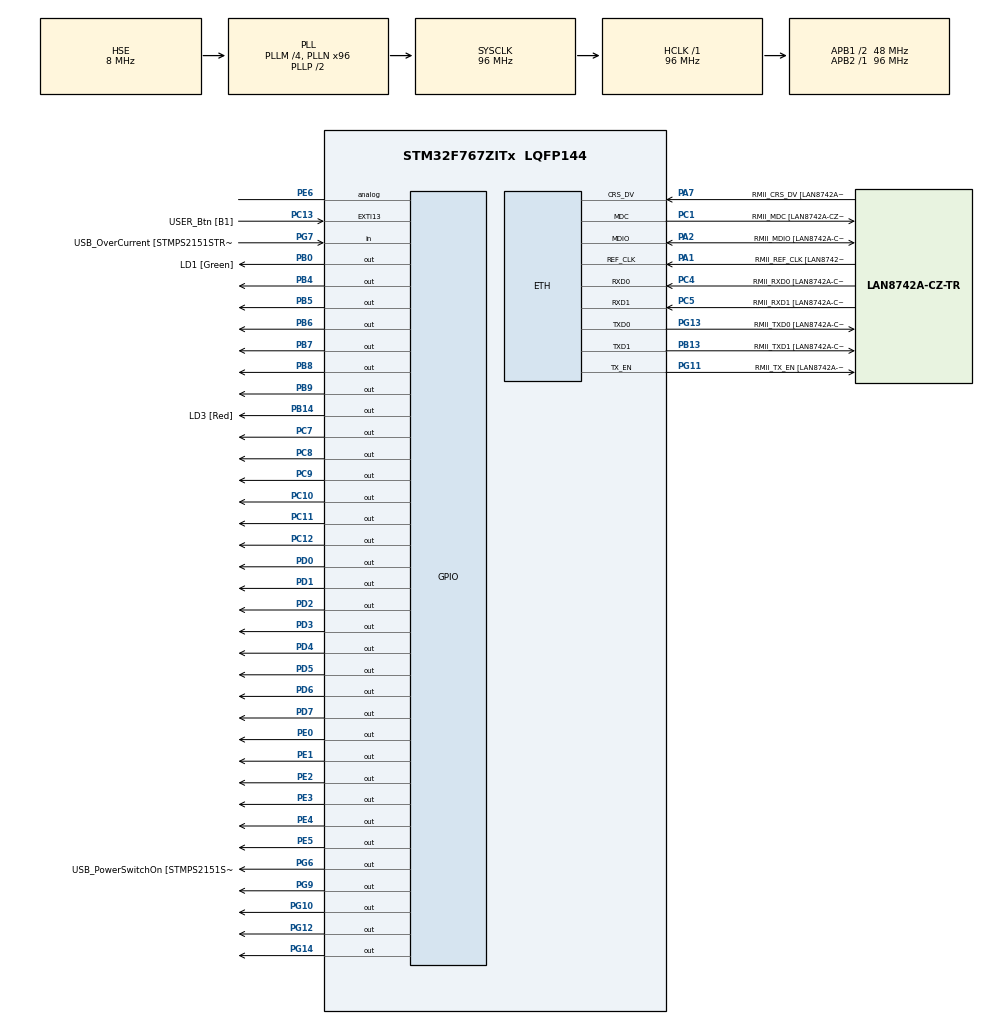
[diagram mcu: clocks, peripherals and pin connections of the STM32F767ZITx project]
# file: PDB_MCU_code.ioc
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ETH.MediaInterface=ETH_MEDIA_INTERFACE_RMII
ETH.PHY_Name=LAN8742A_PHY_ADDRESS
ETH.PHY_Value=0
ETH.PhyAddress=0
LWIP.IP_ADDRESS=001.001.001.111
LWIP.LWIP_DHCP=0
LWIP.NETMASK_ADDRESS=255.255.255.000
LWIP.Version=v2.1.2_Cube
Mcu.Family=STM32F7
Mcu.Name=STM32F767ZITx
Mcu.Package=LQFP144
NVIC.PriorityGroup=NVIC_PRIORITYGROUP_4
PA1.GPIO_Label=RMII_REF_CLK [LAN8742A-CZ-TR_REFCLK0]
PA1.Mode=RMII
PA1.Signal=ETH_REF_CLK
PA10.GPIO_Label=USB_ID
PA10.Signal=USB_OTG_FS_ID
PA11.GPIO_Label=USB_DM
PA11.Signal=USB_OTG_FS_DM
PA12.GPIO_Label=USB_DP
PA12.Signal=USB_OTG_FS_DP
PA13.GPIO_Label=TMS
PA13.Mode=Serial_Wire
PA13.Signal=SYS_JTMS-SWDIO
PA14.GPIO_Label=TCK
PA14.Mode=Serial_Wire
PA14.Signal=SYS_JTCK-SWCLK
PA2.GPIO_Label=RMII_MDIO [LAN8742A-CZ-TR_MDIO]
PA2.Mode=RMII
PA2.Signal=ETH_MDIO
PA7.GPIO_Label=RMII_CRS_DV [LAN8742A-CZ-TR_CRS_DV]
PA7.Mode=RMII
PA7.Signal=ETH_CRS_DV
PA8.GPIO_Label=USB_SOF [TP1]
PA8.Signal=USB_OTG_FS_SOF
PA9.GPIO_Label=USB_VBUS
PA9.Signal=USB_OTG_FS_VBUS
PB0.GPIO_Label=LD1 [Green]
PB0.Signal=GPIO_Output
PB13.GPIO_Label=RMII_TXD1 [LAN8742A-CZ-TR_TXD1]
PB13.Mode=RMII
PB13.Signal=ETH_TXD1
PB14.GPIO_Label=LD3 [Red]
PB14.Signal=GPIO_Output
PB3.GPIO_Label=SWO
PB3.Signal=SYS_JTDO-SWO
PB4.Signal=GPIO_Output
PB5.Signal=GPIO_Output
PB6.Signal=GPIO_Output
PB7.Signal=GPIO_Output
PB8.Signal=GPIO_Output
PB9.Signal=GPIO_Output
PC1.GPIO_Label=RMII_MDC [LAN8742A-CZ-TR_MDC]
PC1.Mode=RMII
PC1.Signal=ETH_MDC
PC10.Signal=GPIO_Output
PC11.Signal=GPIO_Output
PC12.Signal=GPIO_Output
PC13.GPIO_Label=USER_Btn [B1]
PC13.Signal=GPXTI13
PC14/OSC32_IN.Mode=LSE-External-Oscillator
PC14/OSC32_IN.Signal=RCC_OSC32_IN
PC15/OSC32_OUT.Mode=LSE-External-Oscillator
PC15/OSC32_OUT.Signal=RCC_OSC32_OUT
PC4.GPIO_Label=RMII_RXD0 [LAN8742A-CZ-TR_RXD0]
PC4.Mode=RMII
PC4.Signal=ETH_RXD0
PC5.GPIO_Label=RMII_RXD1 [LAN8742A-CZ-TR_RXD1]
PC5.Mode=RMII
PC5.Signal=ETH_RXD1
PC7.Signal=GPIO_Output
PC8.Signal=GPIO_Output
PC9.Signal=GPIO_Output
PD0.Signal=GPIO_Output
PD1.Signal=GPIO_Output
PD2.Signal=GPIO_Output
PD3.Signal=GPIO_Output
PD4.Signal=GPIO_Output
PD5.Signal=GPIO_Output
PD6.Signal=GPIO_Output
PD7.Signal=GPIO_Output
PD8.GPIO_Label=STLK_RX [STM32F103CBT6_PA3]
PD8.Signal=USART3_TX
PD9.GPIO_Label=STLK_TX [STM32F103CBT6_PA2]
PD9.Signal=USART3_RX
PE0.Signal=GPIO_Output
PE1.Signal=GPIO_Output
PE2.Signal=GPIO_Output
PE3.Signal=GPIO_Output
PE4.Signal=GPIO_Output
PE5.Signal=GPIO_Output
PE6.Signal=GPIO_Analog
PG10.Signal=GPIO_Output
PG11.GPIO_Label=RMII_TX_EN [LAN8742A-CZ-TR_TXEN]
PG11.Mode=RMII
PG11.Signal=ETH_TX_EN
PG12.Signal=GPIO_Output
PG13.GPIO_Label=RMII_TXD0 [LAN8742A-CZ-TR_TXD0]
PG13.Mode=RMII
PG13.Signal=ETH_TXD0
PG14.Signal=GPIO_Output
PG6.GPIO_Label=USB_PowerSwitchOn [STMPS2151STR_EN]
PG6.Signal=GPIO_Output
PG7.GPIO_Label=USB_OverCurrent [STMPS2151STR_FAULT]
PG7.Signal=GPIO_Input
PG9.Signal=GPIO_Output
PH0/OSC_IN.GPIO_Label=MCO [STM32F103CBT6_PA8]
PH0/OSC_IN.Mode=HSE-External-Clock-Source
PH0/OSC_IN.Signal=RCC_OSC_IN
PH1/OSC_OUT.Mode=HSE-External-Clock-Source
PH1/OSC_OUT.Signal=RCC_OSC_OUT
ProjectManager.HeapSize=0x200
ProjectManager.StackSize=0x400
ProjectManager.TargetToolchain=STM32CubeIDE
RCC.48MHZClocksFreq_Value=24000000
RCC.AHBFreq_Value=96000000
RCC.APB1CLKDivider=RCC_HCLK_DIV2
RCC.APB1Freq_Value=48000000
RCC.APB1TimFreq_Value=96000000
RCC.APB2Freq_Value=96000000
RCC.APB2TimFreq_Value=96000000
RCC.CortexFreq_Value=96000000
RCC.HCLKFreq_Value=96000000
RCC.HSE_VALUE=8000000
RCC.HSI_VALUE=16000000
RCC.PLLM=4
RCC.PLLMUL=RCC_PLL_MUL9
RCC.PLLN=96
RCC.PLLQ=4
RCC.PLLSourceVirtual=RCC_PLLSOURCE_HSE
RCC.PRESCALERUSB=RCC_USBCLKSOURCE_PLL_DIV1_5
RCC.SYSCLKFreq_VALUE=96000000
RCC.SYSCLKSource=RCC_SYSCLKSOURCE_PLLCLK
RCC.SYSCLKSourceVirtual=RCC_SYSCLKSOURCE_PLLCLK
RCC.USBFreq_Value=48000000
RCC.VCOOutputFreq_Value=192000000
VP_LWIP_VS_Enabled.Mode=Enabled
board=NUCLEO-F767ZI

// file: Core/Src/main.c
/* USER CODE BEGIN Header */
/**
  ******************************************************************************
  * @file           : main.c
  * @brief          : Main program body
  ******************************************************************************
  * @attention
  *
  * Copyright (c) 2024 STMicroelectronics.
  * All rights reserved.
  *
  * This software is licensed under terms that can be found in the LICENSE file
  * in the root directory of this software component.
  * If no LICENSE file comes with this software, it is provided AS-IS.
  *
  ******************************************************************************
  */
/* USER CODE END Header */
#include "main.h"
#include "lwip.h"
#include "lwip/udp.h"
#include "lwip/init.h"
#include "udp_file.h"

/* USER CODE BEGIN PD */
#define true '1'
/* USER CODE END PD */

/* USER CODE BEGIN PV */
extern uint8_t  buffer[34];
rx_struct data_rx;
/* USER CODE END PV */

void SystemClock_Config(void);
static void MX_GPIO_Init(void);
void gpio_reset(void);
void gpio_set(void);

int main(void)
{

  /* MCU Configuration--------------------------------------------------------*/

  /* Reset of all peripherals, Initializes the Flash interface and the Systick. */
  HAL_Init();

  /* Configure the system clock */
  SystemClock_Config();

  /* Initialize all configured peripherals */
  MX_GPIO_Init();
  MX_LWIP_Init();
  /* USER CODE BEGIN 2 */
  udp_echoclient_connect();
  gpio_reset();
  /* USER CODE END 2 */

  /* Infinite loop */
  /* USER CODE BEGIN WHILE */
  while (1)
  {
	  int i = 0;
    /* USER CODE END WHILE */

    /* USER CODE BEGIN 3 */
	  HAL_GPIO_WritePin(GPIOB, GPIO_PIN_14, GPIO_PIN_RESET);
	  MX_LWIP_Process();
	  udp_echoclient_send();

	  for(int i=1;i<33;i++){
	  		data_rx.rx_buffer[i]=buffer[i];
	  	}
	  gpio_set();
  }
  /* USER CODE END 3 */
}

void SystemClock_Config(void)
{
  RCC_OscInitTypeDef RCC_OscInitStruct = {0};
  RCC_ClkInitTypeDef RCC_ClkInitStruct = {0};

  /** Configure LSE Drive Capability
  */
  HAL_PWR_EnableBkUpAccess();

  /** Configure the main internal regulator output voltage
  */
  __HAL_RCC_PWR_CLK_ENABLE();
  __HAL_PWR_VOLTAGESCALING_CONFIG(PWR_REGULATOR_VOLTAGE_SCALE3);

  /** Initializes the RCC Oscillators according to the specified parameters
  * in the RCC_OscInitTypeDef structure.
  */
  RCC_OscInitStruct.OscillatorType = RCC_OSCILLATORTYPE_HSE;
  RCC_OscInitStruct.HSEState = RCC_HSE_BYPASS;
  RCC_OscInitStruct.PLL.PLLState = RCC_PLL_ON;
  RCC_OscInitStruct.PLL.PLLSource = RCC_PLLSOURCE_HSE;
  RCC_OscInitStruct.PLL.PLLM = 4;
  RCC_OscInitStruct.PLL.PLLN = 96;
  RCC_OscInitStruct.PLL.PLLP = RCC_PLLP_DIV2;
  RCC_OscInitStruct.PLL.PLLQ = 4;
  RCC_OscInitStruct.PLL.PLLR = 2;
  if (HAL_RCC_OscConfig(&RCC_OscInitStruct) != HAL_OK)
  {
    Error_Handler();
  }

  /** Activate the Over-Drive mode
  */
  if (HAL_PWREx_EnableOverDrive() != HAL_OK)
  {
    Error_Handler();
  }

  /** Initializes the CPU, AHB and APB buses clocks
  */
  RCC_ClkInitStruct.ClockType = RCC_CLOCKTYPE_HCLK|RCC_CLOCKTYPE_SYSCLK
                              |RCC_CLOCKTYPE_PCLK1|RCC_CLOCKTYPE_PCLK2;
  RCC_ClkInitStruct.SYSCLKSource = RCC_SYSCLKSOURCE_PLLCLK;
  RCC_ClkInitStruct.AHBCLKDivider = RCC_SYSCLK_DIV1;
  RCC_ClkInitStruct.APB1CLKDivider = RCC_HCLK_DIV2;
  RCC_ClkInitStruct.APB2CLKDivider = RCC_HCLK_DIV1;

  if (HAL_RCC_ClockConfig(&RCC_ClkInitStruct, FLASH_LATENCY_3) != HAL_OK)
  {
    Error_Handler();
  }
}

static void MX_GPIO_Init(void)
{
  GPIO_InitTypeDef GPIO_InitStruct = {0};

  /* GPIO Ports Clock Enable */
  __HAL_RCC_GPIOE_CLK_ENABLE();
  __HAL_RCC_GPIOC_CLK_ENABLE();
  __HAL_RCC_GPIOH_CLK_ENABLE();
  __HAL_RCC_GPIOA_CLK_ENABLE();
  __HAL_RCC_GPIOB_CLK_ENABLE();
  __HAL_RCC_GPIOD_CLK_ENABLE();
  __HAL_RCC_GPIOG_CLK_ENABLE();

  /*Configure GPIO pin Output Level */
  HAL_GPIO_WritePin(GPIOE, GPIO_PIN_2|GPIO_PIN_3|GPIO_PIN_4|GPIO_PIN_5
                          |GPIO_PIN_0|GPIO_PIN_1, GPIO_PIN_RESET);

  /*Configure GPIO pin Output Level */
  HAL_GPIO_WritePin(GPIOB, LD1_Pin|LD3_Pin|GPIO_PIN_4|GPIO_PIN_5
                          |GPIO_PIN_6|GPIO_PIN_7|GPIO_PIN_8|GPIO_PIN_9, GPIO_PIN_RESET);

  /*Configure GPIO pin Output Level */
  HAL_GPIO_WritePin(GPIOG, USB_PowerSwitchOn_Pin|GPIO_PIN_9|GPIO_PIN_10|GPIO_PIN_12
                          |GPIO_PIN_14, GPIO_PIN_RESET);

  /*Configure GPIO pin Output Level */
  HAL_GPIO_WritePin(GPIOC, GPIO_PIN_7|GPIO_PIN_8|GPIO_PIN_9|GPIO_PIN_10
                          |GPIO_PIN_11|GPIO_PIN_12, GPIO_PIN_RESET);

  /*Configure GPIO pin Output Level */
  HAL_GPIO_WritePin(GPIOD, GPIO_PIN_0|GPIO_PIN_1|GPIO_PIN_2|GPIO_PIN_3
                          |GPIO_PIN_4|GPIO_PIN_5|GPIO_PIN_6|GPIO_PIN_7, GPIO_PIN_RESET);

  /*Configure GPIO pins : PE2 PE3 PE4 PE5
                           PE0 PE1 */
  GPIO_InitStruct.Pin = GPIO_PIN_2|GPIO_PIN_3|GPIO_PIN_4|GPIO_PIN_5
                          |GPIO_PIN_0|GPIO_PIN_1;
  GPIO_InitStruct.Mode = GPIO_MODE_OUTPUT_PP;
  GPIO_InitStruct.Pull = GPIO_NOPULL;
  GPIO_InitStruct.Speed = GPIO_SPEED_FREQ_LOW;
  HAL_GPIO_Init(GPIOE, &GPIO_InitStruct);

  /*Configure GPIO pin : PE6 */
  GPIO_InitStruct.Pin = GPIO_PIN_6;
  GPIO_InitStruct.Mode = GPIO_MODE_ANALOG;
  GPIO_InitStruct.Pull = GPIO_NOPULL;
  HAL_GPIO_Init(GPIOE, &GPIO_InitStruct);

  /*Configure GPIO pin : USER_Btn_Pin */
  GPIO_InitStruct.Pin = USER_Btn_Pin;
  GPIO_InitStruct.Mode = GPIO_MODE_IT_RISING;
  GPIO_InitStruct.Pull = GPIO_NOPULL;
  HAL_GPIO_Init(USER_Btn_GPIO_Port, &GPIO_InitStruct);

  /*Configure GPIO pins : LD1_Pin LD3_Pin PB4 PB5
                           PB6 PB7 PB8 PB9 */
  GPIO_InitStruct.Pin = LD1_Pin|LD3_Pin|GPIO_PIN_4|GPIO_PIN_5
                          |GPIO_PIN_6|GPIO_PIN_7|GPIO_PIN_8|GPIO_PIN_9;
  GPIO_InitStruct.Mode = GPIO_MODE_OUTPUT_PP;
  GPIO_InitStruct.Pull = GPIO_NOPULL;
  GPIO_InitStruct.Speed = GPIO_SPEED_FREQ_LOW;
  HAL_GPIO_Init(GPIOB, &GPIO_InitStruct);

  /*Configure GPIO pins : STLK_RX_Pin STLK_TX_Pin */
  GPIO_InitStruct.Pin = STLK_RX_Pin|STLK_TX_Pin;
  GPIO_InitStruct.Mode = GPIO_MODE_AF_PP;
  GPIO_InitStruct.Pull = GPIO_NOPULL;
  GPIO_InitStruct.Speed = GPIO_SPEED_FREQ_VERY_HIGH;
  GPIO_InitStruct.Alternate = GPIO_AF7_USART3;
  HAL_GPIO_Init(GPIOD, &GPIO_InitStruct);

  /*Configure GPIO pins : USB_PowerSwitchOn_Pin PG9 PG10 PG12
                           PG14 */
  GPIO_InitStruct.Pin = USB_PowerSwitchOn_Pin|GPIO_PIN_9|GPIO_PIN_10|GPIO_PIN_12
                          |GPIO_PIN_14;
  GPIO_InitStruct.Mode = GPIO_MODE_OUTPUT_PP;
  GPIO_InitStruct.Pull = GPIO_NOPULL;
  GPIO_InitStruct.Speed = GPIO_SPEED_FREQ_LOW;
  HAL_GPIO_Init(GPIOG, &GPIO_InitStruct);

  /*Configure GPIO pin : USB_OverCurrent_Pin */
  GPIO_InitStruct.Pin = USB_OverCurrent_Pin;
  GPIO_InitStruct.Mode = GPIO_MODE_INPUT;
  GPIO_InitStruct.Pull = GPIO_NOPULL;
  HAL_GPIO_Init(USB_OverCurrent_GPIO_Port, &GPIO_InitStruct);

  /*Configure GPIO pins : PC7 PC8 PC9 PC10
                           PC11 PC12 */
  GPIO_InitStruct.Pin = GPIO_PIN_7|GPIO_PIN_8|GPIO_PIN_9|GPIO_PIN_10
                          |GPIO_PIN_11|GPIO_PIN_12;
  GPIO_InitStruct.Mode = GPIO_MODE_OUTPUT_PP;
  GPIO_InitStruct.Pull = GPIO_NOPULL;
  GPIO_InitStruct.Speed = GPIO_SPEED_FREQ_LOW;
  HAL_GPIO_Init(GPIOC, &GPIO_InitStruct);

  /*Configure GPIO pins : USB_SOF_Pin USB_ID_Pin USB_DM_Pin USB_DP_Pin */
  GPIO_InitStruct.Pin = USB_SOF_Pin|USB_ID_Pin|USB_DM_Pin|USB_DP_Pin;
  GPIO_InitStruct.Mode = GPIO_MODE_AF_PP;
  GPIO_InitStruct.Pull = GPIO_NOPULL;
  GPIO_InitStruct.Speed = GPIO_SPEED_FREQ_VERY_HIGH;
  GPIO_InitStruct.Alternate = GPIO_AF10_OTG_FS;
  HAL_GPIO_Init(GPIOA, &GPIO_InitStruct);

  /*Configure GPIO pin : USB_VBUS_Pin */
  GPIO_InitStruct.Pin = USB_VBUS_Pin;
  GPIO_InitStruct.Mode = GPIO_MODE_INPUT;
  GPIO_InitStruct.Pull = GPIO_NOPULL;
  HAL_GPIO_Init(USB_VBUS_GPIO_Port, &GPIO_InitStruct);

  /*Configure GPIO pins : PD0 PD1 PD2 PD3
                           PD4 PD5 PD6 PD7 */
  GPIO_InitStruct.Pin = GPIO_PIN_0|GPIO_PIN_1|GPIO_PIN_2|GPIO_PIN_3
                          |GPIO_PIN_4|GPIO_PIN_5|GPIO_PIN_6|GPIO_PIN_7;
  GPIO_InitStruct.Mode = GPIO_MODE_OUTPUT_PP;
  GPIO_InitStruct.Pull = GPIO_NOPULL;
  GPIO_InitStruct.Speed = GPIO_SPEED_FREQ_LOW;
  HAL_GPIO_Init(GPIOD, &GPIO_InitStruct);

}

/* USER CODE BEGIN 4 */
void gpio_reset(){

	HAL_GPIO_WritePin(GPIOE, GPIO_PIN_0, GPIO_PIN_RESET);
	HAL_GPIO_WritePin(GPIOE, GPIO_PIN_1, GPIO_PIN_RESET);
	HAL_GPIO_WritePin(GPIOE, GPIO_PIN_2, GPIO_PIN_RESET);
	HAL_GPIO_WritePin(GPIOE, GPIO_PIN_3, GPIO_PIN_RESET);
	HAL_GPIO_WritePin(GPIOE, GPIO_PIN_4, GPIO_PIN_RESET);
	HAL_GPIO_WritePin(GPIOE, GPIO_PIN_5, GPIO_PIN_RESET);
	HAL_GPIO_WritePin(GPIOE, GPIO_PIN_6, GPIO_PIN_RESET);
	HAL_GPIO_WritePin(GPIOB, GPIO_PIN_4, GPIO_PIN_RESET);
	HAL_GPIO_WritePin(GPIOB, GPIO_PIN_5, GPIO_PIN_RESET);
	HAL_GPIO_WritePin(GPIOB, GPIO_PIN_6, GPIO_PIN_RESET);
	HAL_GPIO_WritePin(GPIOB, GPIO_PIN_7, GPIO_PIN_RESET);
	HAL_GPIO_WritePin(GPIOB, GPIO_PIN_8, GPIO_PIN_RESET);
	HAL_GPIO_WritePin(GPIOB, GPIO_PIN_9, GPIO_PIN_RESET);
	HAL_GPIO_WritePin(GPIOG, GPIO_PIN_9, GPIO_PIN_RESET);
	HAL_GPIO_WritePin(GPIOG, GPIO_PIN_10, GPIO_PIN_RESET);
	HAL_GPIO_WritePin(GPIOG, GPIO_PIN_12, GPIO_PIN_RESET);
	HAL_GPIO_WritePin(GPIOG, GPIO_PIN_14, GPIO_PIN_RESET);
	HAL_GPIO_WritePin(GPIOG, GPIO_PIN_15, GPIO_PIN_RESET);
	HAL_GPIO_WritePin(GPIOD, GPIO_PIN_0, GPIO_PIN_RESET);
	HAL_GPIO_WritePin(GPIOD, GPIO_PIN_1, GPIO_PIN_RESET);
	HAL_GPIO_WritePin(GPIOD, GPIO_PIN_2, GPIO_PIN_RESET);
	HAL_GPIO_WritePin(GPIOD, GPIO_PIN_3, GPIO_PIN_RESET);
	HAL_GPIO_WritePin(GPIOD, GPIO_PIN_4, GPIO_PIN_RESET);
	HAL_GPIO_WritePin(GPIOD, GPIO_PIN_5, GPIO_PIN_RESET);
	HAL_GPIO_WritePin(GPIOD, GPIO_PIN_6, GPIO_PIN_RESET);
	HAL_GPIO_WritePin(GPIOD, GPIO_PIN_7, GPIO_PIN_RESET);
	HAL_GPIO_WritePin(GPIOC, GPIO_PIN_7, GPIO_PIN_RESET);
	HAL_GPIO_WritePin(GPIOC, GPIO_PIN_8, GPIO_PIN_RESET);
	HAL_GPIO_WritePin(GPIOC, GPIO_PIN_9, GPIO_PIN_RESET);
	HAL_GPIO_WritePin(GPIOC, GPIO_PIN_10, GPIO_PIN_RESET);
	HAL_GPIO_WritePin(GPIOC, GPIO_PIN_11, GPIO_PIN_RESET);
	HAL_GPIO_WritePin(GPIOC, GPIO_PIN_12, GPIO_PIN_RESET);

}

void gpio_set(){
	for(int i=0;i<32;i++)
	{
		if(data_rx.rx_buffer[i]==true){
			switch(i){
					case 0:HAL_GPIO_WritePin(GPIOE, GPIO_PIN_0, GPIO_PIN_SET);
					break;
					case 1:HAL_GPIO_WritePin(GPIOE, GPIO_PIN_1, GPIO_PIN_SET);
					break;
					case 2:HAL_GPIO_WritePin(GPIOE, GPIO_PIN_2, GPIO_PIN_SET);
					break;
					case 3:HAL_GPIO_WritePin(GPIOE, GPIO_PIN_3, GPIO_PIN_SET);
					break;
					case 4:HAL_GPIO_WritePin(GPIOE, GPIO_PIN_4, GPIO_PIN_SET);
					break;
					case 5:HAL_GPIO_WritePin(GPIOE, GPIO_PIN_5, GPIO_PIN_SET);
					break;
					case 6:HAL_GPIO_WritePin(GPIOE, GPIO_PIN_6, GPIO_PIN_SET);
					break;
					case 7:HAL_GPIO_WritePin(GPIOB, GPIO_PIN_4, GPIO_PIN_SET);
					break;
					case 8:HAL_GPIO_WritePin(GPIOB, GPIO_PIN_5, GPIO_PIN_SET);
					break;
					case 9:HAL_GPIO_WritePin(GPIOB, GPIO_PIN_6, GPIO_PIN_SET);
					break;
					case 10:HAL_GPIO_WritePin(GPIOB, GPIO_PIN_7, GPIO_PIN_SET);
					break;
					case 11:HAL_GPIO_WritePin(GPIOB, GPIO_PIN_8, GPIO_PIN_SET);
					break;
					case 12:HAL_GPIO_WritePin(GPIOB, GPIO_PIN_9, GPIO_PIN_SET);
					break;
					case 13:HAL_GPIO_WritePin(GPIOG, GPIO_PIN_9, GPIO_PIN_SET);
					break;
					case 14:HAL_GPIO_WritePin(GPIOG, GPIO_PIN_10, GPIO_PIN_SET);
					break;
					case 15:HAL_GPIO_WritePin(GPIOG, GPIO_PIN_12, GPIO_PIN_SET);
					break;
					case 16:HAL_GPIO_WritePin(GPIOG, GPIO_PIN_14, GPIO_PIN_SET);
					break;
					case 17:HAL_GPIO_WritePin(GPIOG, GPIO_PIN_15, GPIO_PIN_SET);
					break;
					case 18:HAL_GPIO_WritePin(GPIOD, GPIO_PIN_0, GPIO_PIN_SET);
					break;
					case 19:HAL_GPIO_WritePin(GPIOD, GPIO_PIN_1, GPIO_PIN_SET);
					break;
					case 20:HAL_GPIO_WritePin(GPIOD, GPIO_PIN_2, GPIO_PIN_SET);
					break;
					case 21:HAL_GPIO_WritePin(GPIOD, GPIO_PIN_3, GPIO_PIN_SET);
					break;
					case 22:HAL_GPIO_WritePin(GPIOD, GPIO_PIN_4, GPIO_PIN_SET);
					break;
					case 23:HAL_GPIO_WritePin(GPIOD, GPIO_PIN_5, GPIO_PIN_SET);
					break;
					case 24:HAL_GPIO_WritePin(GPIOD, GPIO_PIN_6, GPIO_PIN_SET);
					break;
					case 25:HAL_GPIO_WritePin(GPIOD, GPIO_PIN_7, GPIO_PIN_RESET);
					break;
					case 26:HAL_GPIO_WritePin(GPIOC, GPIO_PIN_7, GPIO_PIN_SET);
					break;
					case 27:HAL_GPIO_WritePin(GPIOC, GPIO_PIN_8, GPIO_PIN_SET);
					break;
					case 28:HAL_GPIO_WritePin(GPIOC, GPIO_PIN_9, GPIO_PIN_SET);
					break;
					case 29:HAL_GPIO_WritePin(GPIOC, GPIO_PIN_10, GPIO_PIN_SET);
					break;
					case 30:HAL_GPIO_WritePin(GPIOC, GPIO_PIN_11, GPIO_PIN_SET);
					break;
					case 31:HAL_GPIO_WritePin(GPIOC, GPIO_PIN_12, GPIO_PIN_SET);
					break;
					default :gpio_reset();
					break;

			}

		}
	}
}

/* USER CODE END 4 */

void Error_Handler(void)
{
  __disable_irq();
  while (1)
  {
  }
}
